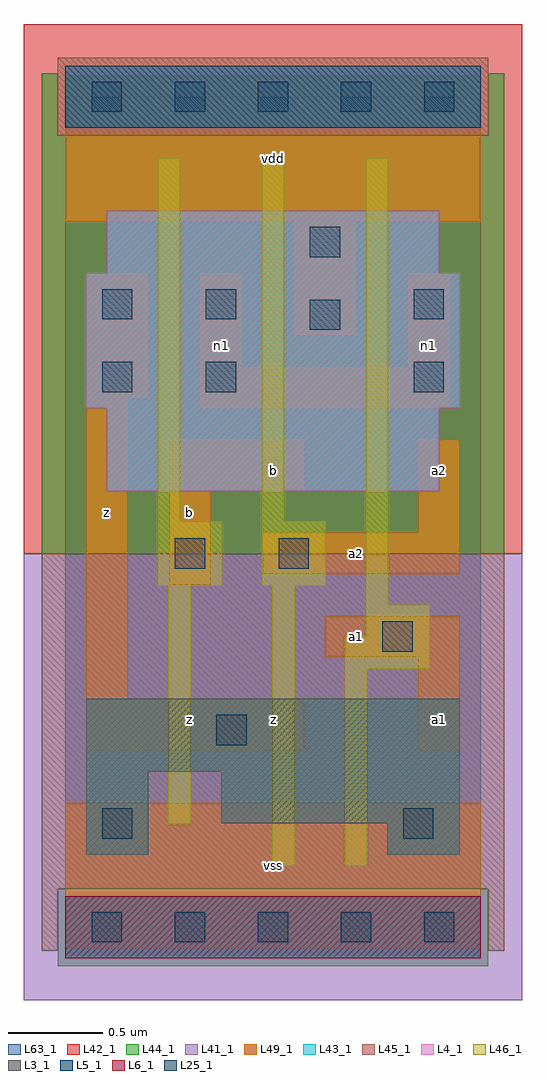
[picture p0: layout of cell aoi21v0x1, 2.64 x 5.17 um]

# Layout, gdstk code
import gdstk
lib = gdstk.Library(unit=1e-6, precision=1e-09)
def R(c, l, rs):  # rectangles x0, y0, x1, y1
    for r in rs: c.add(gdstk.rectangle(r[:2], r[2:], *l))
def A(c, l, x, y, w, h, nx, ny, dx, dy):  # array of equal rectangles
    R(c, l, [(x+i*dx, y+j*dy, x+i*dx+w, y+j*dy+h) for i in range(nx) for j in range(ny)])
L3_1 = (3, 1)
L4_1 = (4, 1)
L5_1 = (5, 1)
L6_1 = (6, 1)
L25_1 = (25, 1)
L41_1 = (41, 1)
L42_1 = (42, 1)
L43_1 = (43, 1)
L44_1 = (44, 1)
L45_1 = (45, 1)
L46_1 = (46, 1)
L49_1 = (49, 1)
L63_1 = (63, 1)

aoi21v0x1 = lib.new_cell('aoi21v0x1')
R(aoi21v0x1, L3_1, [(0.11,0.385,0.44,0.825), (1.705,0.385,2.09,0.55), (0.825,0.55,2.09,0.825), (0.11,0.825,2.09,1.21)])
R(aoi21v0x1, L4_1, [(0.22,2.31,1.98,2.75), (0.11,2.75,2.09,3.465), (0.22,3.465,1.98,3.795)])
R(aoi21v0x1, L5_1, [(0,4.235,2.2,4.565)])
R(aoi21v0x1, L6_1, [(0,-0.165,2.2,0.165)])
A(aoi21v0x1, L25_1, 0.14, -0.08, 0.16, 0.16, 5, 2, 0.44, 4.4)
R(aoi21v0x1, L25_1, [(0.195,0.47,0.355,0.63), (1.79,0.47,1.95,0.63), (0.8,0.965,0.96,1.125), (1.68,1.46,1.84,1.62), (0.58,1.9,0.74,2.06), (1.13,1.9,1.29,2.06), (0.195,2.835,0.355,2.995), (0.745,2.835,0.905,2.995), (1.845,2.835,2.005,2.995), (1.295,3.165,1.455,3.325), (0.195,3.22,0.355,3.38), (0.745,3.22,0.905,3.38), (1.845,3.22,2.005,3.38), (1.295,3.55,1.455,3.71)])
R(aoi21v0x1, L41_1, [(-0.22,-0.385,2.42,1.98)])
R(aoi21v0x1, L42_1, [(-0.22,1.98,2.42,4.785)])
R(aoi21v0x1, L43_1, [(0,-0.165,2.2,0.165), (0.11,0.385,0.44,0.825), (1.705,0.385,2.09,0.55), (0.825,0.55,2.09,0.825), (0.11,0.825,2.09,1.21), (0.22,2.31,1.98,2.75), (0.11,2.75,2.09,3.465), (0.22,3.465,1.98,3.795), (0,4.235,2.2,4.565)])
R(aoi21v0x1, L44_1, [(-0.04,-0.205,2.24,0.205), (-0.125,1.98,2.325,4.195), (-0.125,4.195,-0.04,4.525), (2.24,4.195,2.325,4.525)])
R(aoi21v0x1, L45_1, [(-0.125,-0.125,-0.04,0.205), (2.24,-0.125,2.325,0.205), (-0.125,0.205,2.325,1.98), (-0.04,4.195,2.24,4.605)])
R(aoi21v0x1, L46_1, [(1.095,0.325,1.215,1.81), (1.48,0.325,1.6,1.37), (0.545,0.545,0.665,1.81), (1.48,1.37,1.93,1.545), (1.59,1.545,1.93,1.71), (1.59,1.71,1.71,4.075), (0.49,1.81,0.83,2.15), (1.04,1.81,1.38,2.15), (0.49,2.15,0.61,4.075), (1.04,2.15,1.16,4.075)])
R(aoi21v0x1, L49_1, [(0,-0.11,2.2,0.66), (0.11,0.935,1.265,1.21), (1.87,0.935,2.09,1.43), (0.11,1.21,0.33,2.805), (1.375,1.43,2.09,1.65), (0.55,1.815,0.77,2.31), (1.045,1.87,2.09,2.09), (1.87,2.09,2.09,2.585), (0.55,2.31,1.265,2.585), (0.715,2.75,2.035,2.97), (0.11,2.805,0.44,3.465), (0.715,2.97,0.935,3.465), (1.815,2.97,2.035,3.465), (1.21,3.135,1.54,3.74), (0,3.74,2.2,4.51)])
R(aoi21v0x1, L63_1, [(0,0,2.2,4.4)])
aoi21v0x1.add(gdstk.Label('z', (0.22,2.2), layer=49, texttype=1))
aoi21v0x1.add(gdstk.Label('z', (0.66,1.1), layer=49, texttype=1))
aoi21v0x1.add(gdstk.Label('b', (0.66,2.2), layer=49, texttype=1))
aoi21v0x1.add(gdstk.Label('n1', (0.825,3.08), layer=49, texttype=1))
aoi21v0x1.add(gdstk.Label('vss', (1.1,0.33), layer=49, texttype=1))
aoi21v0x1.add(gdstk.Label('z', (1.1,1.1), layer=49, texttype=1))
aoi21v0x1.add(gdstk.Label('a2', (1.54,1.98), layer=49, texttype=1))
aoi21v0x1.add(gdstk.Label('a1', (1.54,1.54), layer=49, texttype=1))
aoi21v0x1.add(gdstk.Label('b', (1.1,2.42), layer=49, texttype=1))
aoi21v0x1.add(gdstk.Label('vdd', (1.1,4.07), layer=49, texttype=1))
aoi21v0x1.add(gdstk.Label('a1', (1.98,1.1), layer=49, texttype=1))
aoi21v0x1.add(gdstk.Label('a2', (1.98,2.42), layer=49, texttype=1))
aoi21v0x1.add(gdstk.Label('n1', (1.925,3.08), layer=49, texttype=1))

lib.write_gds('aoi21v0x1.gds')
